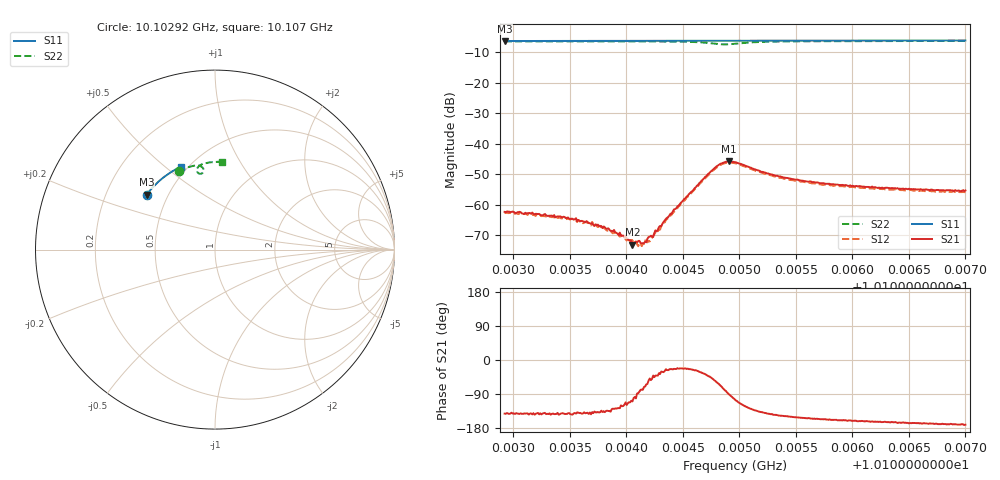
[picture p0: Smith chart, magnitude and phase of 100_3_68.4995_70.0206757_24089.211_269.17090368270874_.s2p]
#  HZ  S  RI  R  50.00
! Rohde & Schwarz Vector Network Analyzer
! Rohde-Schwarz,ZNB20-2Port,1311601062101988,3.16
! Created: UTC 3/20/2024, 4:53:02 PM
! freq[Hz]  re:S11  im:S11  re:S21  im:S21  re:S12  im:S12  re:S22  im:S22
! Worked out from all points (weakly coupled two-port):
!   401 points, 10.10292 GHz to 10.107 GHz, reference 50 ohm
!   highest |S21| = -45.75 dB at 10.10491 GHz (marker M1); lowest = -73.2 dB at 10.10405 GHz (marker M2)
!   lowest |S11| = -6.2 dB at 10.10292 GHz (marker M3), VSWR 2.91, Z = 19.1 + j15.3 ohm
!   |S11| at or under -10 dB: nowhere
!   |S22| runs from -7.3 to -6.2 dB; largest |S21 - S12| = 0.00051
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1.0102923e10  -0.3805 0.3057  -0.000598 -0.000474  -0.000538 -0.000514  -0.2027 0.4358
1.0103433e10  -0.3615 0.3303  -0.000475 -0.000392  -0.000445 -0.000405  -0.1715 0.4503
1.0103606e10  -0.3546 0.3385  -0.000428 -0.000335  -0.000362 -0.000377  -0.1604 0.4546
1.0103718e10  -0.35 0.3434  -0.000321 -0.000311  -0.000318 -0.000328  -0.1529 0.4573
1.010382e10  -0.3459 0.3481  -0.000283 -0.000289  -0.000272 -0.000278  -0.1461 0.4597
1.0103983e10  -0.3391 0.3553  -0.000144 -0.000272  -0.000124 -0.00027  -0.1346 0.4632
1.0104054e10  -0.3361 0.3585  -7.22e-05 -0.000207  -2.09e-05 -0.00026  -0.1294 0.4645
1.0104115e10  -0.3335 0.3611  2.85e-05 -0.000254  4.12e-05 -0.000231  -0.1247 0.4657
1.0104156e10  -0.3316 0.3628  7.47e-05 -0.000222  9.66e-05 -0.000207  -0.1215 0.4664
1.0104207e10  -0.3296 0.365  0.000196 -0.000225  0.000167 -0.000186  -0.1176 0.467
1.0104248e10  -0.3277 0.3668  0.000242 -0.000244  0.000267 -0.000194  -0.114 0.4676
1.0104289e10  -0.326 0.3685  0.000354 -0.000247  0.000342 -0.000186  -0.1104 0.4682
1.010434e10  -0.3238 0.3706  0.000483 -0.000271  0.000473 -0.000201  -0.1059 0.4685
1.0104482e10  -0.3174 0.3766  0.000997 -0.000401  0.000998 -0.000317  -0.0917 0.468
1.0104757e10  -0.3048 0.3874  0.00244 -0.00272  0.00257 -0.00243  -0.0633 0.4429
1.0104839e10  -0.301 0.3904  0.00167 -0.00444  0.00195 -0.00411  -0.0707 0.4262
1.010491e10  -0.2978 0.3931  -9.86e-05 -0.00516  0.000321 -0.00492  -0.0875 0.4231
1.0104961e10  -0.2956 0.3949  -0.00125 -0.00482  -0.000796 -0.00472  -0.0969 0.4299
1.0105298e10  -0.2797 0.408  -0.0025 -0.0018  -0.00224 -0.00195  -0.0831 0.4699
1.0105644e10  -0.2625 0.4202  -0.00212 -0.00101  -0.00192 -0.00114  -0.0552 0.481
1.0106327e10  -0.2274 0.442  -0.00181 -0.000504  -0.00164 -0.000649  -0.00715 0.4881
1.0106999e10  -0.1911 0.4605  -0.00169 -0.000275  -0.00156 -0.000403  0.0375 0.4889
